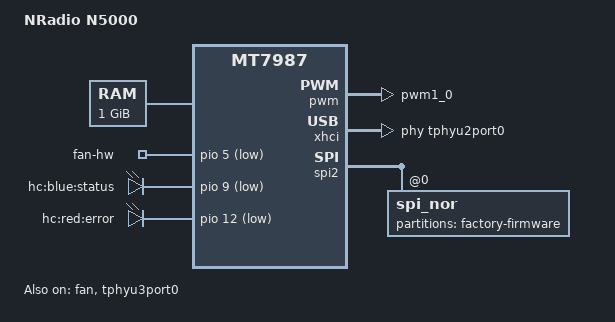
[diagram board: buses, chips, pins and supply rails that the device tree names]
/* SPDX-License-Identifier: (GPL-2.0 OR MIT) */

/dts-v1/;
#include "mt7987-nradio-tss-two-2g5-sd.dtsi"

/ {
	compatible = "nradio,n5000", "mediatek,mt7987a", "mediatek,mt7987";
	model = "NRadio N5000";

	memory {
		reg = <0 0x40000000 0 0x40000000>;
	};

	chosen {
		bootargs = "console=ttyS0,115200n1 loglevel=8 earlycon=uart8250,mmio32,0x11000000 pci=pcie_bus_perf root=PARTLABEL=rootfs rootwait rootfstype=squashfs,f2fs";
	};

	aliases {
		led-boot = &led_status;
		led-failsafe = &led_error;
		led-running = &led_status;
		led-upgrade = &led_status;
	};

	gpio_export {
		compatible = "gpio-export";
		#size-cells = <0>;


#if 0
		fanpwm {
			gpio-export,name = "fan-pwm";
			gpio-export,output = <1>;
			gpios = <&pio 7 GPIO_ACTIVE_HIGH>;
		};
#endif
		fanpower {
			gpio-export,name = "fan-hw";
			gpio-export,output = <0>;
			gpios = <&pio 5 GPIO_ACTIVE_LOW>;
		};
	};

	gpio-leds {
		compatible = "gpio-leds";

		led_status: status {
			label = "hc:blue:status";
			gpios = <&pio 9 GPIO_ACTIVE_LOW>;
		};




		led_error: error {
			label = "hc:red:error";
			gpios = <&pio 12 GPIO_ACTIVE_LOW>;
		};
	};
};

/* Derived from the working C2000 Ultra tree; WT9504 omits cellular GPIOs and LEDs. */
&gmac0 {
	pcs-handle = <&sgmiipcs0>;
};

&phy11 {
	airoha,polarity = <1>;
	airoha,surge = <0>;
	airoha,led-activity-all;
};

&gmac2 {
	label = "hnat";
};

&hnat {
	/delete-property/ ext-devices;
	mtketh-wan = "eth1";
	mtketh-lan = "eth0";
	mtketh-lan2 = "hnat";
	mtketh-ppd = "hnat";
};

&fan {
	pinctrl-names = "default";
	pwms = <&pwm 1 40000 0>;
	status = "okay";
};

&pio {
	pwm1_pin: pwm1-pin {
		mux {
			function = "pwm";
			groups = "pwm1_0";
		};
	};
};

&pwm {
	pinctrl-names = "default";
	pinctrl-0 = <&pwm1_pin>;
	status = "okay";
};

&tphyu3port0 {
	status = "okay";
};

&xhci {
	mediatek,u3p-dis-msk=<0>;

	phys = <&tphyu2port0 PHY_TYPE_USB2>,
	       <&tphyu3port0 PHY_TYPE_USB3>;
};

&gkeys {
	/delete-node/ wps;
	fandet {
		 label = "fandet";
		 linux,code = <KEY_CONFIG>;
		 gpios = <&pio 3 GPIO_ACTIVE_LOW>;
	};
};

&spi2 {
	spi_nor@0 {
		/* Preserve factory firmware without exposing its rootfs_data as overlay. */
		partition@2D0000 {
			label = "factory-firmware";
			read-only;
		};
	};
};
